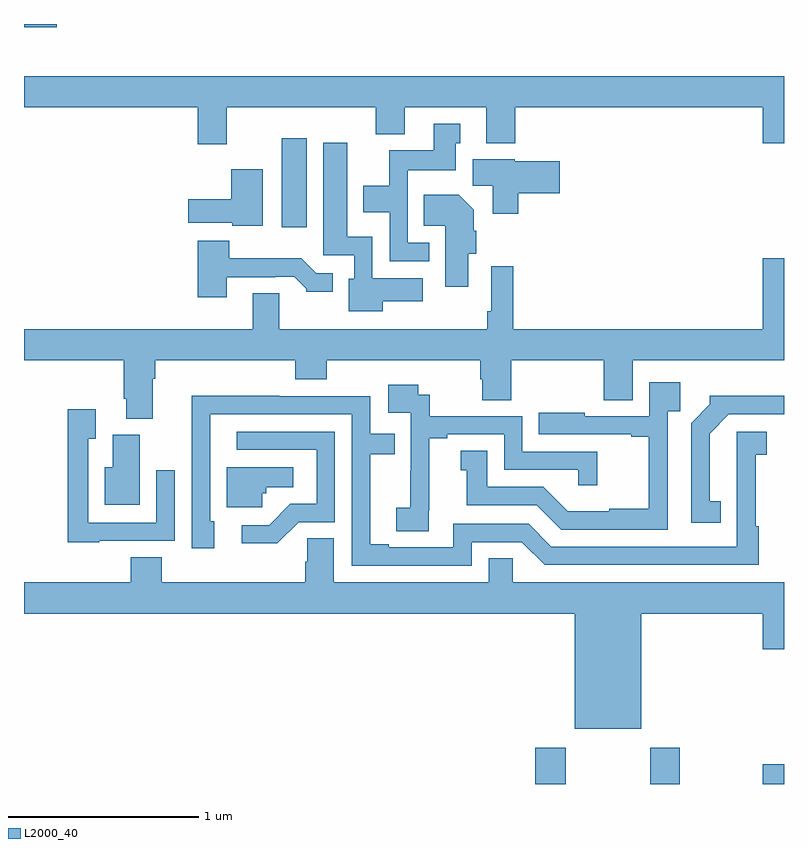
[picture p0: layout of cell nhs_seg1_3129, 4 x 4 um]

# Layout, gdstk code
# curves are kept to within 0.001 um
import gdstk
lib = gdstk.Library(unit=1e-6, precision=1e-09)
def R(c, l, rs):  # rectangles x0, y0, x1, y1
    for r in rs: c.add(gdstk.rectangle(r[:2], r[2:], *l))
def P(c, l, *ps):  # polygons
    for p in ps: c.add(gdstk.Polygon(p, *l))
L2000_40 = (2000, 40)

nhs_seg1_3129 = lib.new_cell('nhs_seg1_3129')
R(nhs_seg1_3129, L2000_40, [(283.691,520.199,283.851,520.39), (284.296,520.199,284.451,520.39), (284.888,520.199,285,520.303), (282.356,523.128,282.487,523.597), (281,524.183,281.173,524.199)])
P(nhs_seg1_3129, L2000_40, [(282.067,523.76),(282.851,523.76),(282.851,523.619),(283.003,523.619),(283.003,523.76),(283.433,523.76),(283.433,523.571),(283.586,523.571),(283.586,523.76),(284.888,523.76),(284.888,523.572),(285,523.572),(285,523.924),(281,523.924),(281,523.76),(281.915,523.76),(281.915,523.566),(282.067,523.566)],
  [(283.132,523.047),(283.02,523.047),(283.02,523.43),(283.273,523.43),(283.273,523.572),(283.297,523.572),(283.297,523.675),(283.157,523.675),(283.157,523.534),(282.922,523.534),(282.922,523.348),(282.785,523.348),(282.785,523.208),(282.924,523.208),(282.924,522.951),(283.132,522.951)],
  [(282.887,522.74),(283.099,522.74),(283.099,522.862),(282.834,522.862),(282.834,523.078),(282.7,523.078),(282.7,523.573),(282.575,523.573),(282.575,522.981),(282.738,522.981),(282.738,522.858),(282.71,522.858),(282.71,522.686),(282.887,522.686)],
  [(283.601,523.307),(283.819,523.307),(283.819,523.477),(283.584,523.477),(283.584,523.486),(283.361,523.486),(283.361,523.348),(283.466,523.348),(283.466,523.2),(283.601,523.2)],
  [(282.256,523.435),(282.092,523.435),(282.092,523.276),(281.865,523.276),(281.865,523.154),(282.096,523.154),(282.096,523.136),(282.256,523.136)],
  [(283.339,522.99),(283.379,522.99),(283.379,523.112),(283.366,523.112),(283.366,523.222),(283.288,523.3),(283.105,523.3),(283.105,523.136),(283.217,523.136),(283.217,522.816),(283.339,522.816)],
  [(282.067,522.867),(282.323,522.867),(282.323,522.87),(282.422,522.87),(282.486,522.806),(282.486,522.791),(282.625,522.791),(282.625,522.888),(282.537,522.888),(282.459,522.967),(282.08,522.967),(282.08,523.057),(281.915,523.057),(281.915,522.762),(282.067,522.762)],
  [(281.677,522.332),(281.69,522.332),(281.69,522.428),(282.428,522.428),(282.428,522.329),(282.593,522.329),(282.593,522.428),(283.4,522.428),(283.4,522.33),(283.412,522.33),(283.412,522.22),(283.565,522.22),(283.565,522.428),(284.051,522.428),(284.051,522.22),(284.203,522.22),(284.203,522.428),(285,522.428),(285,522.967),(284.888,522.967),(284.888,522.592),(283.574,522.592),(283.574,522.925),(283.458,522.925),(283.458,522.688),(283.438,522.688),(283.438,522.592),(282.343,522.592),(282.343,522.782),(282.203,522.782),(282.203,522.592),(281,522.592),(281,522.428),(281.525,522.428),(281.525,522.226),(281.537,522.226),(281.537,522.121),(281.677,522.121)],
  [(284.388,522.161),(284.453,522.161),(284.453,522.313),(284.292,522.313),(284.292,522.135),(283.951,522.135),(283.951,522.154),(283.708,522.154),(283.708,522.039),(284.195,522.039),(284.195,522.027),(284.287,522.027),(284.287,521.647),(284.081,521.647),(284.081,521.635),(283.862,521.635),(283.734,521.763),(283.438,521.763),(283.438,521.954),(283.298,521.954),(283.298,521.851),(283.331,521.851),(283.331,521.667),(283.698,521.667),(283.827,521.538),(284.388,521.538)],
  [(283.13,521.641),(283.132,521.641),(283.132,522.019),(283.228,522.019),(283.228,522.039),(283.527,522.039),(283.527,521.853),(283.917,521.853),(283.917,521.772),(284.018,521.772),(284.018,521.949),(283.623,521.949),(283.623,522.135),(283.136,522.135),(283.136,522.249),(283.074,522.249),(283.074,522.301),(282.918,522.301),(282.918,522.153),(283.035,522.153),(283.035,521.849),(283.034,521.849),(283.034,521.652),(282.96,521.652),(282.96,521.53),(283.13,521.53)],
  [(284.666,521.687),(284.608,521.687),(284.608,522.043),(284.709,522.144),(285,522.144),(285,522.242),(284.61,522.242),(284.61,522.197),(284.511,522.098),(284.511,521.574),(284.666,521.574)],
  [(283.356,521.472),(283.62,521.472),(283.74,521.352),(284.867,521.352),(284.867,521.555),(284.85,521.555),(284.85,521.931),(284.908,521.931),(284.908,522.052),(284.75,522.052),(284.751,521.448),(283.776,521.448),(283.656,521.568),(283.26,521.568),(283.26,521.445),(282.919,521.445),(282.919,521.46),(282.823,521.46),(282.823,521.934),(282.95,521.934),(282.95,522.042),(282.822,522.042),(282.822,522.24),(282.344,522.24),(282.344,522.242),(281.882,522.242),(281.883,521.439),(282.001,521.439),(282.001,521.583),(281.979,521.583),(281.979,522.144),(282.726,522.144),(282.726,521.349),(283.356,521.349)],
  [(281.397,521.478),(281.793,521.478),(281.793,521.851),(281.697,521.851),(281.697,521.574),(281.337,521.574),(281.337,522.016),(281.377,522.016),(281.377,522.172),(281.229,522.172),(281.229,521.471),(281.397,521.471)],
  [(282.447,521.577),(282.636,521.577),(282.636,522.054),(282.12,522.054),(282.12,521.958),(282.54,521.958),(282.54,521.673),(282.402,521.673),(282.291,521.562),(282.147,521.562),(282.147,521.465),(282.334,521.465)],
  [(281.608,522.036),(281.468,522.036),(281.468,521.866),(281.426,521.866),(281.426,521.669),(281.608,521.669)],
  [(282.255,521.73),(282.274,521.73),(282.274,521.762),(282.418,521.762),(282.418,521.866),(282.068,521.866),(282.068,521.655),(282.255,521.655)],
  [(284.248,521.096),(284.888,521.096),(284.888,520.908),(285,520.908),(285,521.26),(283.572,521.26),(283.572,521.387),(283.445,521.387),(283.445,521.26),(282.631,521.26),(282.631,521.492),(282.492,521.492),(282.492,521.369),(282.479,521.369),(282.479,521.26),(281.726,521.26),(281.726,521.393),(281.561,521.393),(281.561,521.26),(281,521.26),(281,521.096),(283.898,521.096),(283.898,520.49),(284.248,520.49)])

lib.write_gds('nhs_seg1_3129.gds')
